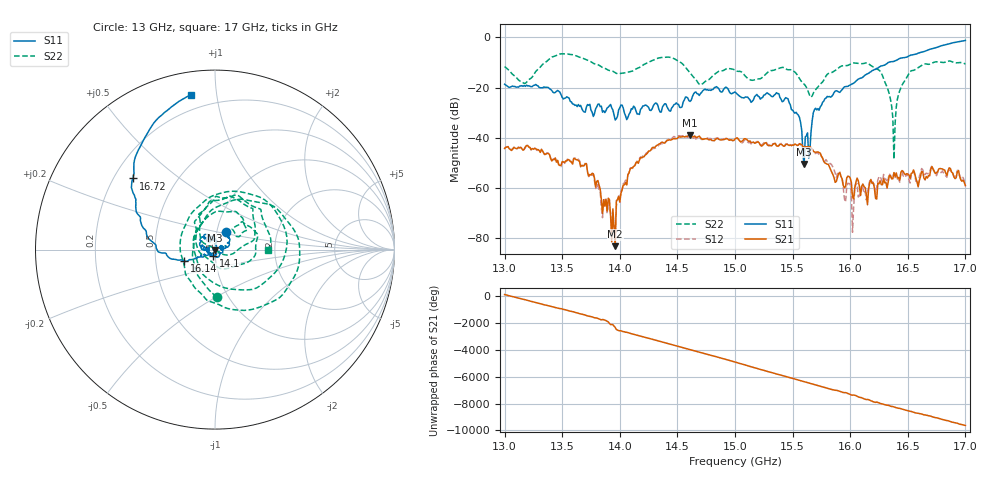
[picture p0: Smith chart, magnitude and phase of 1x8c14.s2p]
!Keysight Technologies,P9374A,MY57211807,A.19.30.04
!Date: Friday, May 08, 2026 15:08:59
!Correction: S11(C  2-Port  )
!S21(C  2-Port  )
!S12(C  2-Port  )
!S22(C  2-Port  )
!S2P File: Measurements: S11, S21, S12, S22:
# Hz S  dB  R 50
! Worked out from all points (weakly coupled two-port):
!   401 points, 13 GHz to 17 GHz, reference 50 ohm
!   highest |S21| = -39.02 dB at 14.61 GHz (marker M1); lowest = -83.4 dB at 13.96 GHz (marker M2)
!   lowest |S11| = -50.6 dB at 15.6 GHz (marker M3), VSWR 1.01, Z = 50 - j0.294 ohm
!   |S11| at or under -10 dB: start of sweep to 16.33 GHz
!   |S22| runs from -48.6 to -6.5 dB; largest |S21 - S12| = 0.0012
!   S11 on the Smith chart (normalised r, x): 13 GHz: 1.11, +0.22; 14.1 GHz: 0.98, -0.07; 16.14 GHz: 0.70, -0.09; 16.72 GHz: 0.28, +0.35; 17 GHz: 0.12, +0.85
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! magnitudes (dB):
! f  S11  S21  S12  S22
! 13 GHz  -18.7  -44.3  -44.5  -11.6
! 13.17 GHz  -19.2  -44.6  -44.7  -18.3
! 13.42 GHz  -21.9  -48.7  -48.4  -7.7
! 13.67 GHz  -28.4  -51.1  -50.8  -8.2
! 13.94 GHz  -29.0  -68.5  -75.7  -13.5
! 13.96 GHz  -32.9  -83.4  -79.9  -14.1
! 14.1 GHz  -28.4  -52.1  -52.2  -13.5
! 14.34 GHz  -28.8  -42.6  -42.9  -8.1
! 14.61 GHz  -25.6  -39.0  -39.5  -14.1
! 15 GHz  -21.8  -40.6  -40.8  -13.1
! 15.45 GHz  -24.3  -42.6  -42.5  -12.8
! 15.55 GHz  -31.0  -43.0  -42.9  -15.7
! 15.6 GHz  -50.6  -43.7  -43.8  -18.7
! 15.67 GHz  -33.2  -44.5  -44.9  -23.3
! 15.78 GHz  -24.5  -50.1  -49.5  -16.2
! 16.01 GHz  -18.7  -57.9  -62.3  -10.4
! 16.14 GHz  -14.8  -62.7  -64.9  -10.2
! 16.34 GHz  -9.8  -55.2  -54.3  -22.7
! 16.38 GHz  -9.5  -54.0  -54.0  -48.6
! 16.51 GHz  -7.3  -54.9  -56.8  -14.3
! 16.72 GHz  -4.4  -52.7  -52.4  -10.0
! 17 GHz  -1.2  -59.2  -58.5  -10.6
